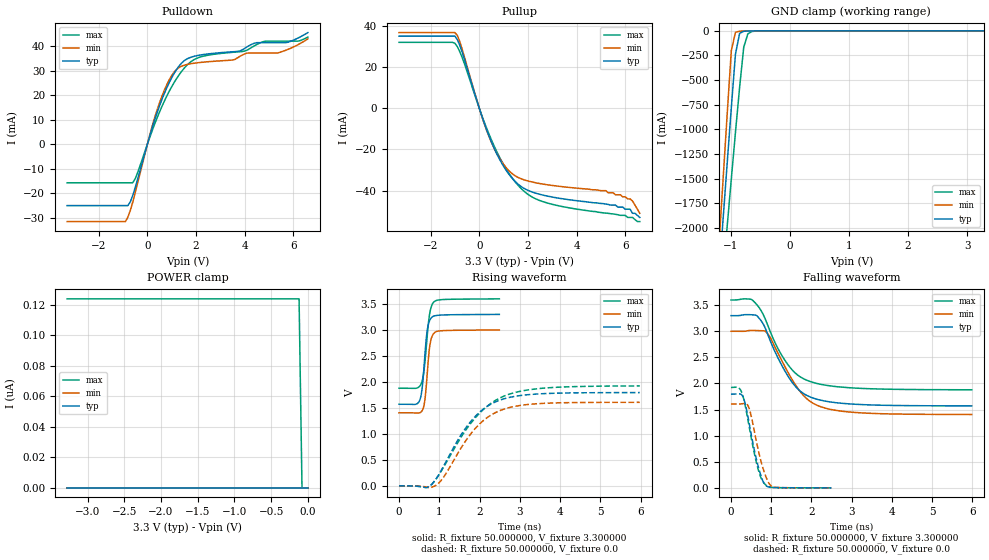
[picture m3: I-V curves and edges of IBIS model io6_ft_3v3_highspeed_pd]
| [Disclaimer]  This information is for modeling purpose only and is
| not guaranted. The information is subject to change without
| notice.
| [Copyright] Copyright 2013 STMicroelectronics Inc.
| From stm32g0_456_ufqfpn28_gp.ibs, stm32g0_456_ufqfpn28_gp, STMicroelectronics
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|   Model io6_ft_3v3_highspeed_pd
[Model]  io6_ft_3v3_highspeed_pd
Model_type I/O
Polarity   Non-Inverting
Enable   Active-Low
Vinl =   0.990000V
Vinh =   2.310000V
Vmeas =  1.650000V
Cref =   50.000000pF
Rref =   100.000000M
Vref =   0.0V
C_comp   1.290400pF   1.272500pF   1.305600pF
[Temperature Range]   25.000000   -40.000000   0.125000k
[Pullup Reference]   3.300000V   3.000000V   3.600000V
[Pulldown Reference]   0.0V   0.0V   0.0V
[POWER Clamp Reference]   3.300000V   3.000000V   3.600000V
[GND Clamp Reference]   0.0V   0.0V   0.0V
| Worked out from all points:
|   slope of the pulldown table from 0 to 0.495 V, typ, clamps not added: 31.8 ohm
|   slope of the pullup table from 0 to 0.495 V, typ, clamps not added: 30.4 ohm
|   GND clamp passes 1 mA (typ) near -0.65 V on its own axis
|   rising waveform, R_fixture 50.000000, V_fixture 3.300000: 20-80 % time 115ps typ, 110ps min, 130ps max; typ from 1.57 V to 3.3 V
|   rising waveform, R_fixture 50.000000, V_fixture 0.0: 20-80 % time 936ps typ, 910ps min, 1.08ns max; typ from 0 V to 1.79 V
|   falling waveform, R_fixture 50.000000, V_fixture 3.300000: 20-80 % time 728ps typ, 758ps min, 726ps max; typ from 3.3 V to 1.57 V
|   falling waveform, R_fixture 50.000000, V_fixture 0.0: 20-80 % time 292ps typ, 289ps min, 302ps max; typ from 1.79 V to 0 V
[Pulldown]
|Voltage   I(typ)   I(min)   I(max)
-3.3V     -25.03mA   -31.54mA   -15.7mA
-900mV    -25.03mA   -31.54mA   -15.7mA
-700mV    -23.48mA   -26.95mA   -15.7mA
-500mV    -17.69mA   -19.75mA   -14.07mA
100mV     3.479mA    3.853mA    2.862mA
500mV     15.71mA    16.96mA    13.17mA
900mV     25.22mA    26.33mA    21.66mA
1.3V      31.91mA    31.32mA    28.29mA
2.2V      36.48mA    33.43mA    35.69mA
4.1V      39.78mA    37.21mA    38.43mA
5.4V      41.49mA    37.39mA    42.11mA
6.6V      45.6mA     43.05mA    43.74mA
[Pullup]
|Voltage   I(typ)   I(min)   I(max)
-3.3V     34.95mA    36.68mA    31.96mA
-1V       34.95mA    36.68mA    31.47mA
-800mV    30.49mA    32.27mA    27.39mA
100mV     -3.672mA   -3.825mA   -3.371mA
500mV     -16.4mA    -16.57mA   -15.42mA
1.1V      -30.05mA   -28.8mA    -29.38mA
1.7V      -37.83mA   -34.15mA   -38.73mA
2.9V      -42.88mA   -37.32mA   -46.32mA
5.8V      -48mA      -42mA      -52mA
6.2V      -49mA      -44mA      -53mA
6.3V      -51mA      -45mA      -53mA
6.6V      -53mA      -51mA      -55mA
[GND_clamp]
|Voltage   I(typ)   I(min)   I(max)
-3.3V     -9.61A     -9.635A    -9.699A
-1.2V     -2.493A    -2.184A    -2.958A
-1.13V    -1.917A    -1.512A    -2.469A
-1.06V    -1.345A    -845.6mA   -1.983A
-990mV    -779.8mA   -200.2mA   -1.503A
-920mV    -235.6mA   -14.2mA    -1.03A
-850mV    -26.08mA   -3.351mA   -574.2mA
-780mV    -4.512mA   -1.821mA   -166.4mA
-710mV    -1.735mA   -881.8uA   -29.46mA
-640mV    -819.4uA   -295.6uA   -6.294mA
3.28V     86.85uA    64.2uA     109.1uA
[POWER_clamp]
|Voltage   I(typ)   I(min)   I(max)
-3.28V    0A         0A         124nA
-120mV    0A         0A         124nA
-80mV     0A         0A         0A
0V        0A         0A         0A
[Ramp]
| variable   typ   min   max
dV/dt_r  1.07526/0.93172n   0.96288/0.90664n   1.14870/1.06748n
dV/dt_f  1.03530/0.72465n   0.95586/0.75389n   1.02942/0.72236n
R_load = 50.000000
[Rising Waveform]
R_fixture= 50.000000
V_fixture= 3.300000
V_fixture_min= 3.000000
V_fixture_max= 3.600000
|time   V(typ)   V(min)   V(max)
0s        1.57V      1.405V     1.878V
445.4ps   1.579V     1.401V     1.882V
555.6ps   1.775V     1.427V     1.972V
590.6ps   2.003V     1.471V     2.071V
630.6ps   2.385V     1.594V     2.29V
695.7ps   2.961V     2.104V     2.841V
750.8ps   3.161V     2.609V     3.257V
810.8ps   3.24V      2.855V     3.467V
1.026ns   3.285V     2.982V     3.581V
2.492ns   3.299V     2.999V     3.597V
[Rising Waveform]
R_fixture= 50.000000
V_fixture= 0.0
V_fixture_min= 0.0
V_fixture_max= 0.0
|time   V(typ)   V(min)   V(max)
0s        2.301uV    -3.393uV   25.36uV
684.7ps   -36.47mV   -22.27mV   -24.59mV
780.8ps   8.748mV    -33.5mV    3.093mV
1.081ns   341.5mV    139mV      325.8mV
1.465ns   885.6mV    631.9mV    839.7mV
1.754ns   1.211V     972.3mV    1.174V
2.114ns   1.489V     1.268V     1.481V
2.486ns   1.645V     1.441V     1.683V
3.483ns   1.77V      1.582V     1.873V
5.982ns   1.794V     1.607V     1.922V
[Falling Waveform]
R_fixture= 50.000000
V_fixture= 3.300000
V_fixture_min= 3.000000
V_fixture_max= 3.600000
|time   V(typ)   V(min)   V(max)
0s        3.299V     2.999V     3.597V
516.5ps   3.315V     3.016V     3.605V
660.7ps   3.283V     3.012V     3.492V
864.9ps   3.036V     2.993V     3.211V
1.117ns   2.57V      2.659V     2.746V
1.405ns   2.155V     2.229V     2.371V
1.658ns   1.897V     1.909V     2.161V
1.97ns    1.74V      1.655V     2.036V
2.967ns   1.607V     1.451V     1.916V
5.982ns   1.57V      1.405V     1.878V
[Falling Waveform]
R_fixture= 50.000000
V_fixture= 0.0
V_fixture_min= 0.0
V_fixture_max= 0.0
|time   V(typ)   V(min)   V(max)
0s        1.794V     1.607V     1.922V
250.2ps   1.792V     1.608V     1.859V
330.3ps   1.679V     1.616V     1.66V
430.4ps   1.329V     1.564V     1.265V
500.5ps   1.037V     1.386V     972.1mV
665.7ps   445mV      772.4mV    384.7mV
860.9ps   50.3mV     228mV      58.21mV
961ps     11.94mV    68.75mV    17.33mV
1.071ns   5.178mV    15.17mV    6.152mV
2.492ns   2.301uV    -3.393uV   25.36uV
